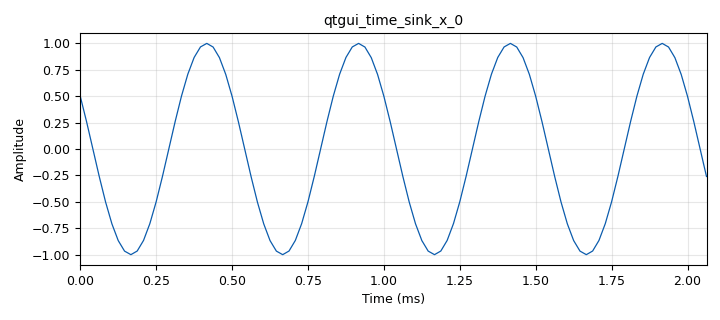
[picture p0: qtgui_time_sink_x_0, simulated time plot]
<?xml version='1.0' encoding='utf-8'?>
<?grc format='1' created='3.7.10'?>
<flow_graph>
<block>
<key>options</key>
<param><key>id</key><value>Tone_Generator</value></param>
<param><key>generate_options</key><value>qt_gui</value></param>
</block>
<block>
<key>variable_qtgui_range</key>
<param><key>id</key><value>freq</value></param>
<param><key>value</key><value>2e3</value></param>
<param><key>label</key><value>Frequency</value></param>
<param><key>orient</key><value>Qt.Horizontal</value></param>
<param><key>start</key><value>0</value></param>
<param><key>step</key><value>1e3</value></param>
<param><key>stop</key><value>22e3</value></param>
</block>
<block>
<key>variable</key>
<param><key>id</key><value>samp_rate</value></param>
<param><key>value</key><value>48000</value></param>
</block>
<block>
<key>analog_sig_source_x</key>
<param><key>id</key><value>analog_sig_source_x_0</value></param>
<param><key>amp</key><value>1</value></param>
<param><key>freq</key><value>freq</value></param>
<param><key>offset</key><value>0</value></param>
<param><key>type</key><value>float</value></param>
<param><key>samp_rate</key><value>samp_rate</value></param>
<param><key>waveform</key><value>analog.GR_COS_WAVE</value></param>
</block>
<block>
<key>audio_sink</key>
<param><key>id</key><value>audio_sink_0</value></param>
<param><key>samp_rate</key><value>samp_rate</value></param>
</block>
<block>
<key>blocks_throttle</key>
<param><key>id</key><value>blocks_throttle_0</value></param>
<param><key>samples_per_second</key><value>samp_rate</value></param>
<param><key>type</key><value>float</value></param>
</block>
<block>
<key>qtgui_time_sink_x</key>
<param><key>id</key><value>qtgui_time_sink_x_0</value></param>
<param><key>autoscale</key><value>True</value></param>
<param><key>grid</key><value>True</value></param>
<param><key>color1</key><value>"blue"</value></param>
<param><key>label1</key><value></value></param>
<param><key>size</key><value>100</value></param>
<param><key>srate</key><value>samp_rate</value></param>
<param><key>type</key><value>float</value></param>
</block>
<connection><source_block_id>analog_sig_source_x_0</source_block_id><sink_block_id>blocks_throttle_0</sink_block_id><source_key>0</source_key><sink_key>0</sink_key></connection>
<connection><source_block_id>blocks_throttle_0</source_block_id><sink_block_id>audio_sink_0</sink_block_id><source_key>0</source_key><sink_key>0</sink_key></connection>
<connection><source_block_id>blocks_throttle_0</source_block_id><sink_block_id>qtgui_time_sink_x_0</sink_block_id><source_key>0</source_key><sink_key>0</sink_key></connection>
</flow_graph>
